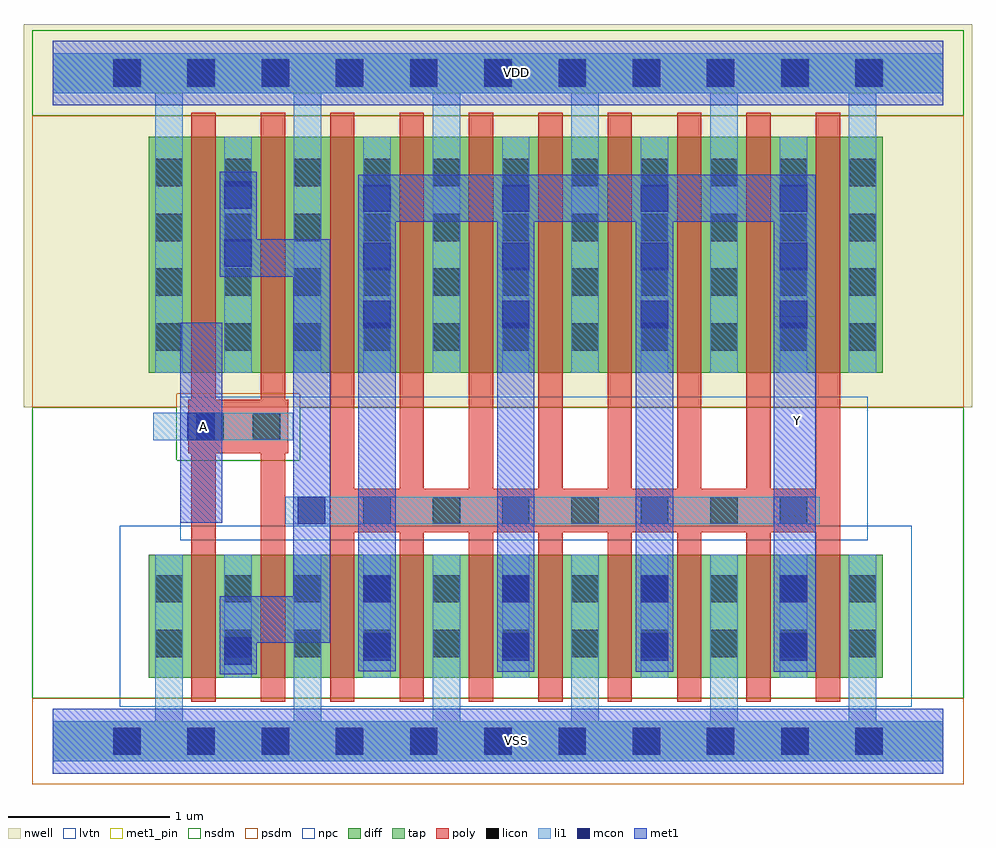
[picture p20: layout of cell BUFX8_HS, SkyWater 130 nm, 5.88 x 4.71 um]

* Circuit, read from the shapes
.subckt BUFX8_HS A VDD VSS Y
XM1 n1 A VSS VSS sky130_fd_pr__nfet_01v8_lvt w=0.76 l=0.15 m=2
XM2 Y n1 VSS VSS sky130_fd_pr__nfet_01v8_lvt w=0.76 l=0.15 m=8
XM3 n1 A VDD VDD sky130_fd_pr__pfet_01v8 w=1.46 l=0.15 m=2
XM4 Y n1 VDD VDD sky130_fd_pr__pfet_01v8 w=1.46 l=0.15 m=8
.ends

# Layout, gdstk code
from math import pi, radians
import gdstk
lib = gdstk.Library(unit=1e-6, precision=1e-09)
def R(c, l, rs):  # rectangles x0, y0, x1, y1
    for r in rs: c.add(gdstk.rectangle(r[:2], r[2:], *l))
def A(c, l, x, y, w, h, nx, ny, dx, dy):  # array of equal rectangles
    R(c, l, [(x+i*dx, y+j*dy, x+i*dx+w, y+j*dy+h) for i in range(nx) for j in range(ny)])
def P(c, l, *ps):  # polygons
    for p in ps: c.add(gdstk.Polygon(p, *l))
nwell = (64, 20)
diff = (65, 20)
tap = (65, 44)
poly = (66, 20)
licon = (66, 44)
li1 = (67, 20)
mcon = (67, 44)
met1_pin = (68, 16)
met1 = (68, 20)
nsdm = (93, 44)
psdm = (94, 20)
npc = (95, 20)
lvtn = (125, 44)

l1m1_c_cdns_752016586812 = lib.new_cell('L1M1_C_CDNS_752016586812')
R(l1m1_c_cdns_752016586812, li1, [(-0.085,-0.165,0.085,0.165)])
R(l1m1_c_cdns_752016586812, mcon, [(-0.085,-0.085,0.085,0.085)])
R(l1m1_c_cdns_752016586812, met1, [(-0.115,-0.145,0.115,0.145)])

pyl1con_c_cdns_752016586 = lib.new_cell('PYL1CON_C_CDNS_752016586813')
R(pyl1con_c_cdns_752016586, poly, [(-0.135,-0.165,0.135,0.165)])
R(pyl1con_c_cdns_752016586, licon, [(-0.085,-0.085,0.085,0.085)])
R(pyl1con_c_cdns_752016586, npc, [(-0.185,-0.185,0.185,0.185)])

l1m1_c_cdns_752016586816 = lib.new_cell('L1M1_C_CDNS_752016586816')
R(l1m1_c_cdns_752016586816, li1, [(-0.085,-0.345,0.085,0.345)])
R(l1m1_c_cdns_752016586816, mcon, [(-0.085,-0.265,0.085,-0.095), (-0.085,0.095,0.085,0.265)])
R(l1m1_c_cdns_752016586816, met1, [(-0.115,-0.325,0.115,0.325)])

l1m1_c_cdns_752016586811 = lib.new_cell('L1M1_C_CDNS_752016586811')
R(l1m1_c_cdns_752016586811, li1, [(-0.165,-0.085,0.165,0.085)])
R(l1m1_c_cdns_752016586811, mcon, [(-0.085,-0.085,0.085,0.085)])
R(l1m1_c_cdns_752016586811, met1, [(-0.115,-0.145,0.115,0.145)])

bufx8_hs = lib.new_cell('BUFX8_HS')
R(bufx8_hs, nwell, [(-0.18,2.07,5.7,4.445)])
R(bufx8_hs, diff, [(0.595,0.395,5.145,1.155), (0.595,2.285,5.145,3.745)])
A(bufx8_hs, poly, 1.72, 0.245, 0.15, 3.65, 8, 1, 0.43, 0)
P(bufx8_hs, poly, [(1.46,2.115),(1.44,2.115),(1.44,3.895),(1.29,3.895),(1.29,2.115),(1.01,2.115),(1.01,3.895),(0.86,3.895),(0.86,2.115),(0.84,2.115),(0.84,1.785),(0.86,1.785),(0.86,0.245),(1.01,0.245),(1.01,1.785),(1.29,1.785),(1.29,0.245),(1.44,0.245),(1.44,1.785),(1.46,1.785)])
A(bufx8_hs, licon, 0.375, -0.085, 0.17, 0.17, 11, 2, 0.46, 4.14)
A(bufx8_hs, licon, 0.635, 0.52, 0.17, 0.17, 11, 2, 0.43, 0.34)
A(bufx8_hs, licon, 0.635, 2.42, 0.17, 0.17, 11, 4, 0.43, 0.34)
A(bufx8_hs, li1, 1.065, 0.395, 0.17, 0.76, 5, 1, 0.86, 0)
A(bufx8_hs, li1, 1.065, 2.285, 0.17, 1.46, 5, 1, 0.86, 0)
P(bufx8_hs, li1, [(5.52,4.265),(0,4.265),(0,4.015),(0.635,4.015),(0.635,2.285),(0.805,2.285),(0.805,4.015),(1.495,4.015),(1.495,2.285),(1.665,2.285),(1.665,4.015),(2.355,4.015),(2.355,2.285),(2.525,2.285),(2.525,4.015),(3.215,4.015),(3.215,2.285),(3.385,2.285),(3.385,4.015),(4.075,4.015),(4.075,2.285),(4.245,2.285),(4.245,4.015),(4.935,4.015),(4.935,2.285),(5.105,2.285),(5.105,4.015),(5.52,4.015)],
  [(5.52,0.125),(5.105,0.125),(5.105,1.155),(4.935,1.155),(4.935,0.125),(4.245,0.125),(4.245,1.155),(4.075,1.155),(4.075,0.125),(3.385,0.125),(3.385,1.155),(3.215,1.155),(3.215,0.125),(2.525,0.125),(2.525,1.155),(2.355,1.155),(2.355,0.125),(1.665,0.125),(1.665,1.155),(1.495,1.155),(1.495,0.125),(0.805,0.125),(0.805,1.155),(0.635,1.155),(0.635,0.125),(0,0.125),(0,-0.125),(5.52,-0.125)])
A(bufx8_hs, mcon, 0.375, -0.085, 0.17, 0.17, 11, 2, 0.46, 4.14)
A(bufx8_hs, mcon, 1.925, 0.5, 0.17, 0.17, 4, 2, 0.86, 0.36)
A(bufx8_hs, mcon, 1.925, 2.56, 0.17, 0.17, 4, 3, 0.86, 0.36)
R(bufx8_hs, met1_pin, [(0.79,1.355,1.05,2.595), (4.47,1.395,4.73,2.635)])
P(bufx8_hs, met1, [(1.72,3.11),(1.035,3.11),(1.035,2.88),(1.49,2.88),(1.49,0.9),(1.035,0.9),(1.035,0.61),(1.72,0.61)],
  [(4.73,3.51),(1.895,3.51),(1.895,0.435),(2.125,0.435),(2.125,3.22),(2.755,3.22),(2.755,0.43),(2.985,0.43),(2.985,3.22),(3.615,3.22),(3.615,0.43),(3.845,0.43),(3.845,3.22),(4.47,3.22),(4.47,0.43),(4.73,0.43)])
R(bufx8_hs, nsdm, [(-0.125,3.875,5.645,4.405)])
P(bufx8_hs, nsdm, [(5.645,2.07),(1.53,2.07),(1.53,1.74),(0.77,1.74),(0.77,2.07),(-0.125,2.07),(-0.125,0.265),(5.645,0.265)])
R(bufx8_hs, psdm, [(-0.125,-0.265,5.645,0.265)])
P(bufx8_hs, psdm, [(5.645,3.875),(-0.125,3.875),(-0.125,2.07),(0.77,2.07),(0.77,2.155),(1.53,2.155),(1.53,2.07),(5.645,2.07)])
R(bufx8_hs, npc, [(0.79,1.245,5.05,2.135)])
R(bufx8_hs, lvtn, [(0.415,0.215,5.325,1.335)])
bufx8_hs.add(gdstk.FlexPath([(1.44,1.43),(4.755,1.43)], 0.17, ends="flush", simple_path=True, layer=67, datatype=20))  # li1
bufx8_hs.add(gdstk.FlexPath([(0.625,1.95),(1.49,1.95)], 0.17, ends="flush", simple_path=True, layer=67, datatype=20))  # li1
bufx8_hs.add(gdstk.FlexPath([(0,4.14),(5.52,4.14)], 0.4, ends="flush", simple_path=True, layer=68, datatype=20))  # met1
bufx8_hs.add(gdstk.FlexPath([(0,0),(5.52,0)], 0.4, ends="flush", simple_path=True, layer=68, datatype=20))  # met1
bufx8_hs.add(gdstk.FlexPath([(0.92,1.355),(0.92,2.595)], 0.26, ends="flush", simple_path=True, layer=68, datatype=20))  # met1
bufx8_hs.add(gdstk.FlexPath([(0,4.14),(5.52,4.14)], 0.25, ends="flush", simple_path=True, layer=65, datatype=44))  # tap
bufx8_hs.add(gdstk.FlexPath([(0,0),(5.52,0)], 0.25, ends="flush", simple_path=True, layer=65, datatype=44))  # tap
bufx8_hs.add(gdstk.FlexPath([(0,4.14),(5.52,4.14)], 0.4, ends="flush", simple_path=True, layer=68, datatype=16))  # met1_pin
bufx8_hs.add(gdstk.FlexPath([(0,0),(5.52,0)], 0.4, ends="flush", simple_path=True, layer=68, datatype=16))  # met1_pin
bufx8_hs.add(gdstk.Reference(l1m1_c_cdns_752016586812, (1.15,0.56)))
bufx8_hs.add(gdstk.Reference(pyl1con_c_cdns_752016586, (3.3,1.43), rotation=pi/2))
bufx8_hs.add(gdstk.Reference(pyl1con_c_cdns_752016586, (0.975,1.95), rotation=pi, x_reflection=True))
bufx8_hs.add(gdstk.Reference(pyl1con_c_cdns_752016586, (1.325,1.95), rotation=pi, x_reflection=True))
bufx8_hs.add(gdstk.Reference(pyl1con_c_cdns_752016586, (3.73,1.43), rotation=pi/2))
bufx8_hs.add(gdstk.Reference(pyl1con_c_cdns_752016586, (2.87,1.43), rotation=pi/2))
bufx8_hs.add(gdstk.Reference(pyl1con_c_cdns_752016586, (4.59,1.43), rotation=pi/2))
bufx8_hs.add(gdstk.Reference(pyl1con_c_cdns_752016586, (4.16,1.43), rotation=pi/2))
bufx8_hs.add(gdstk.Reference(pyl1con_c_cdns_752016586, (2.44,1.43), rotation=pi/2))
bufx8_hs.add(gdstk.Reference(pyl1con_c_cdns_752016586, (2.01,1.43), rotation=pi/2))
bufx8_hs.add(gdstk.Reference(l1m1_c_cdns_752016586816, (1.15,3.205)))
bufx8_hs.add(gdstk.Reference(l1m1_c_cdns_752016586811, (1.605,1.43), x_reflection=True))
bufx8_hs.add(gdstk.Reference(l1m1_c_cdns_752016586811, (0.92,1.95), x_reflection=True))
bufx8_hs.add(gdstk.Label('Y', (4.615,1.99), layer=68, texttype=5))
bufx8_hs.add(gdstk.Label('VDD', (2.875,4.145), layer=68, texttype=5))
bufx8_hs.add(gdstk.Label('VSS', (2.875,0.005), layer=68, texttype=5))
bufx8_hs.add(gdstk.Label('A', (0.935,1.95), layer=68, texttype=5))

lib.write_gds('BUFX8_HS.gds')
